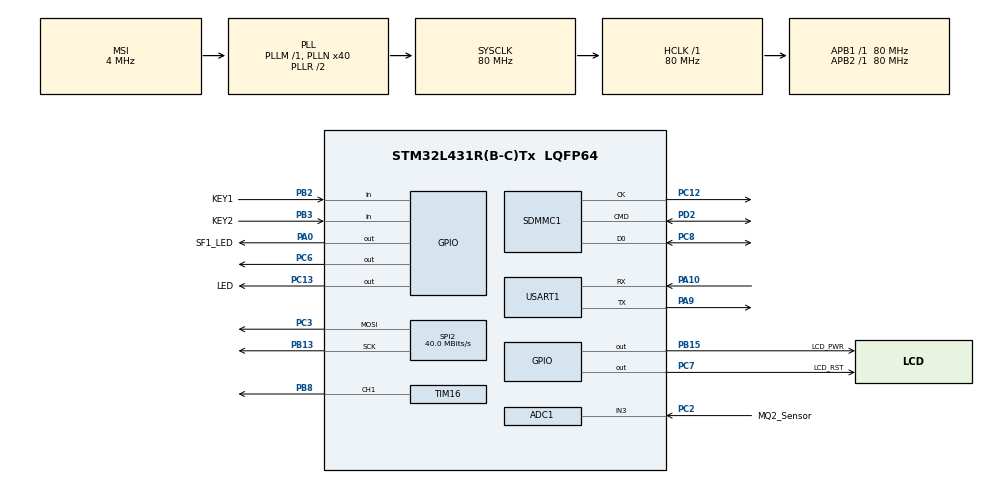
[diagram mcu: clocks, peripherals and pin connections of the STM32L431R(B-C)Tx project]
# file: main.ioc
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ADC1.Channel-0\#ChannelRegularConversion=ADC_CHANNEL_3
ADC1.NbrOfConversionFlag=1
ADC1.OffsetNumber-0\#ChannelRegularConversion=ADC_OFFSET_NONE
ADC1.Rank-0\#ChannelRegularConversion=1
ADC1.SamplingTime-0\#ChannelRegularConversion=ADC_SAMPLETIME_2CYCLES_5
ADC1.master=1
FATFS._CODE_PAGE=936
FATFS._USE_CHMOD=0
FATFS._USE_EXPAND=0
FATFS._USE_FIND=0
FATFS._USE_FORWARD=0
FATFS._USE_LABEL=0
FATFS._USE_LFN=2
Mcu.Family=STM32L4
Mcu.Name=STM32L431R(B-C)Tx
Mcu.Package=LQFP64
NVIC.PriorityGroup=NVIC_PRIORITYGROUP_4
NVIC.SDMMC1_IRQn=true\:0\:0\:false\:false\:true\:true\:true
NVIC.USART1_IRQn=true\:0\:0\:false\:false\:true\:true\:true
PA0.GPIO_Label=SF1_LED
PA0.GPIO_Speed=GPIO_SPEED_FREQ_VERY_HIGH
PA0.Signal=GPIO_Output
PA10.Mode=Asynchronous
PA10.Signal=USART1_RX
PA13\ (JTMS-SWDIO).Mode=Serial_Wire
PA13\ (JTMS-SWDIO).Signal=SYS_JTMS-SWDIO
PA14\ (JTCK-SWCLK).Mode=Serial_Wire
PA14\ (JTCK-SWCLK).Signal=SYS_JTCK-SWCLK
PA9.Mode=Asynchronous
PA9.Signal=USART1_TX
PB13.Mode=TX_Only_Simplex_Unidirect_Master
PB13.Signal=SPI2_SCK
PB15.GPIO_Label=LCD_PWR
PB15.GPIO_Speed=GPIO_SPEED_FREQ_VERY_HIGH
PB15.Signal=GPIO_Output
PB2.GPIO_Label=KEY1
PB2.GPIO_PuPd=GPIO_PULLUP
PB2.Signal=GPIO_Input
PB3\ (JTDO-TRACESWO).GPIO_Label=KEY2
PB3\ (JTDO-TRACESWO).GPIO_PuPd=GPIO_PULLUP
PB3\ (JTDO-TRACESWO).Signal=GPIO_Input
PB8.Signal=S_TIM16_CH1
PC12.Mode=SD_1_bit
PC12.Signal=SDMMC1_CK
PC13.GPIO_Label=LED
PC13.Signal=GPIO_Output
PC2.GPIO_Label=MQ2_Sensor
PC2.Signal=ADCx_IN3
PC3.Mode=TX_Only_Simplex_Unidirect_Master
PC3.Signal=SPI2_MOSI
PC6.Signal=GPIO_Output
PC7.GPIO_Label=LCD_RST
PC7.GPIO_Speed=GPIO_SPEED_FREQ_VERY_HIGH
PC7.Signal=GPIO_Output
PC8.Mode=SD_1_bit
PC8.Signal=SDMMC1_D0
PD2.Mode=SD_1_bit
PD2.Signal=SDMMC1_CMD
PH0-OSC_IN\ (PH0).Mode=HSE-External-Oscillator
PH0-OSC_IN\ (PH0).Signal=RCC_OSC_IN
PH1-OSC_OUT\ (PH1).Mode=HSE-External-Oscillator
PH1-OSC_OUT\ (PH1).Signal=RCC_OSC_OUT
ProjectManager.HeapSize=0x1000
ProjectManager.StackSize=0x1200
ProjectManager.TargetToolchain=MDK-ARM V5
RCC.ADCFreq_Value=32000000
RCC.AHBFreq_Value=80000000
RCC.APB1Freq_Value=80000000
RCC.APB1TimFreq_Value=80000000
RCC.APB2Freq_Value=80000000
RCC.APB2TimFreq_Value=80000000
RCC.CortexFreq_Value=80000000
RCC.HCLKFreq_Value=80000000
RCC.HSE_VALUE=8000000
RCC.HSI48_VALUE=48000000
RCC.HSI_VALUE=16000000
RCC.LSE_VALUE=32768
RCC.MSI_VALUE=4000000
RCC.PLLN=40
RCC.PLLSAI1N=16
RCC.SYSCLKFreq_VALUE=80000000
RCC.SYSCLKSource=RCC_SYSCLKSOURCE_PLLCLK
RCC.VCOOutputFreq_Value=160000000
SDMMC1.ClockDiv=4
SH.ADCx_IN3.0=ADC1_IN3,IN3-Single-Ended
SH.S_TIM16_CH1.0=TIM16_CH1,PWM Generation1 CH1
SPI2.CLKPhase=SPI_PHASE_2EDGE
SPI2.CLKPolarity=SPI_POLARITY_HIGH
SPI2.CalculateBaudRate=40.0 MBits/s
SPI2.DataSize=SPI_DATASIZE_8BIT
SPI2.Direction=SPI_DIRECTION_2LINES
SPI2.Mode=SPI_MODE_MASTER
SPI2.VirtualType=VM_MASTER
TIM16.Channel=TIM_CHANNEL_1
TIM16.Period=999
TIM16.Prescaler=79
TIM16.Pulse=499
USART1.VirtualMode-Asynchronous=VM_ASYNC
VP_FATFS_VS_SDIO.Mode=SDIO
VP_RTC_VS_RTC_Activate.Mode=RTC_Enabled
VP_TIM16_VS_ClockSourceINT.Mode=Enable_Timer
board=custom

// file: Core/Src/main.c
/* USER CODE BEGIN Header */
/**
  ******************************************************************************
  * @file           : main.c
  * @brief          : Main program body
  ******************************************************************************
  * @attention
  *
  * <h2><center>&copy; Copyright (c) 2020 STMicroelectronics.
  * All rights reserved.</center></h2>
  *
  * This software component is licensed by ST under BSD 3-Clause license,
  * the "License"; You may not use this file except in compliance with the
  * License. You may obtain a copy of the License at:
  *                        opensource.org/licenses/BSD-3-Clause
  *
  ******************************************************************************
  */
/* USER CODE END Header */
#include "main.h"
#include "adc.h"
#include "fatfs.h"
#include "rtc.h"
#include "sdmmc.h"
#include "spi.h"
#include "tim.h"
#include "usart.h"
#include "gpio.h"

/* USER CODE BEGIN Includes */
#include "bsp_bmp.h"
/* USER CODE END Includes */

/* USER CODE BEGIN PD */
/*默认任务*/
#define DEFULT_TASK_SIZE				256
void default_task(void *pdata);
osThreadDef(default_task, osPriorityLow, 1, DEFULT_TASK_SIZE);

/*按键处理*/
#define KEY_TASK_SIZE					2000
void StartKeyTask(void  *argument);
osThreadDef(StartKeyTask, osPriorityRealtime, 1, KEY_TASK_SIZE);

/*状态栏任务处理*/
#define STATUS_BAR_TASK_SIZE			400
void StartStatus_Bar_Task(void  *argument);
osThreadDef(StartStatus_Bar_Task, osPriorityLow, 1, STATUS_BAR_TASK_SIZE);
/* USER CODE END PD */

void SystemClock_Config(void);

/* USER CODE BEGIN 0 */
FATFS fs;													/* FatFs文件系统对象 */
FRESULT f_res;                    /* 文件操作结果 */
#define START_LOGO	"0:/UI/start_logo/start_logo.bmp"
/* USER CODE END 0 */

int main(void)
{
    /* USER CODE BEGIN 1 */
    int ret = -1 ;
    /* USER CODE END 1 */

    /* MCU Configuration--------------------------------------------------------*/

    /* Reset of all peripherals, Initializes the Flash interface and the Systick. */
    HAL_Init();

    /* Configure the system clock */
    SystemClock_Config();

    /* Initialize all configured peripherals */
    MX_GPIO_Init();
    MX_SPI2_Init();
    MX_USART1_UART_Init();
    MX_RTC_Init();
    MX_ADC1_Init();
    MX_TIM16_Init();
    MX_SDMMC1_SD_Init();
    MX_FATFS_Init();
    /* USER CODE BEGIN 2 */
    PowerOn();
    printf("小熊派气体传感器系统\n");
    LCD_Init();
    ret = Mount_SD();

    if(ret != 0)
    {
        printf("SD Card mount ERROR\r\n");
        HAL_GPIO_WritePin(LED_GPIO_Port, LED_Pin, GPIO_PIN_SET);
        return -1 ;
    }

    printf("SD卡挂载成功!\n");
    /*读取配置信息*/
    Load_Config_ini_File();
    Lcd_show_bmp(0, 0, START_LOGO);
    LCD_DisplayOn();
    HAL_Delay(1500);
    Sensor_Register(&mq2_sensor_interface);
    LCD_Clear(BLACK);
    Menu_Init();
    //关指示灯
    HAL_GPIO_WritePin(GPIOC, LED_Pin, GPIO_PIN_RESET);

    /*初始化腾讯OS tiny内核*/
    osKernelInitialize();
    /*创建并启动一个默认任务*/
    osThreadCreate(osThread(default_task), NULL);
    /*启动TencentOS tiny内核*/
    osKernelStart();
    /* USER CODE END 2 */

    /* Infinite loop */
    while (1)
    {

    }
}

void SystemClock_Config(void)
{
    RCC_OscInitTypeDef RCC_OscInitStruct = {0};
    RCC_ClkInitTypeDef RCC_ClkInitStruct = {0};
    RCC_PeriphCLKInitTypeDef PeriphClkInit = {0};

    /** Initializes the RCC Oscillators according to the specified parameters
    * in the RCC_OscInitTypeDef structure.
    */
    RCC_OscInitStruct.OscillatorType = RCC_OSCILLATORTYPE_LSI | RCC_OSCILLATORTYPE_MSI;
    RCC_OscInitStruct.LSIState = RCC_LSI_ON;
    RCC_OscInitStruct.MSIState = RCC_MSI_ON;
    RCC_OscInitStruct.MSICalibrationValue = 0;
    RCC_OscInitStruct.MSIClockRange = RCC_MSIRANGE_6;
    RCC_OscInitStruct.PLL.PLLState = RCC_PLL_ON;
    RCC_OscInitStruct.PLL.PLLSource = RCC_PLLSOURCE_MSI;
    RCC_OscInitStruct.PLL.PLLM = 1;
    RCC_OscInitStruct.PLL.PLLN = 40;
    RCC_OscInitStruct.PLL.PLLP = RCC_PLLP_DIV7;
    RCC_OscInitStruct.PLL.PLLQ = RCC_PLLQ_DIV2;
    RCC_OscInitStruct.PLL.PLLR = RCC_PLLR_DIV2;

    if (HAL_RCC_OscConfig(&RCC_OscInitStruct) != HAL_OK)
    {
        Error_Handler();
    }

    /** Initializes the CPU, AHB and APB buses clocks
    */
    RCC_ClkInitStruct.ClockType = RCC_CLOCKTYPE_HCLK | RCC_CLOCKTYPE_SYSCLK
                                  | RCC_CLOCKTYPE_PCLK1 | RCC_CLOCKTYPE_PCLK2;
    RCC_ClkInitStruct.SYSCLKSource = RCC_SYSCLKSOURCE_PLLCLK;
    RCC_ClkInitStruct.AHBCLKDivider = RCC_SYSCLK_DIV1;
    RCC_ClkInitStruct.APB1CLKDivider = RCC_HCLK_DIV1;
    RCC_ClkInitStruct.APB2CLKDivider = RCC_HCLK_DIV1;

    if (HAL_RCC_ClockConfig(&RCC_ClkInitStruct, FLASH_LATENCY_4) != HAL_OK)
    {
        Error_Handler();
    }

    PeriphClkInit.PeriphClockSelection = RCC_PERIPHCLK_RTC | RCC_PERIPHCLK_USART1
                                         | RCC_PERIPHCLK_SDMMC1 | RCC_PERIPHCLK_ADC;
    PeriphClkInit.Usart1ClockSelection = RCC_USART1CLKSOURCE_PCLK2;
    PeriphClkInit.AdcClockSelection = RCC_ADCCLKSOURCE_PLLSAI1;
    PeriphClkInit.RTCClockSelection = RCC_RTCCLKSOURCE_LSI;
    PeriphClkInit.Sdmmc1ClockSelection = RCC_SDMMC1CLKSOURCE_PLLSAI1;
    PeriphClkInit.PLLSAI1.PLLSAI1Source = RCC_PLLSOURCE_MSI;
    PeriphClkInit.PLLSAI1.PLLSAI1M = 1;
    PeriphClkInit.PLLSAI1.PLLSAI1N = 16;
    PeriphClkInit.PLLSAI1.PLLSAI1P = RCC_PLLP_DIV7;
    PeriphClkInit.PLLSAI1.PLLSAI1Q = RCC_PLLQ_DIV2;
    PeriphClkInit.PLLSAI1.PLLSAI1R = RCC_PLLR_DIV2;
    PeriphClkInit.PLLSAI1.PLLSAI1ClockOut = RCC_PLLSAI1_48M2CLK | RCC_PLLSAI1_ADC1CLK;

    if (HAL_RCCEx_PeriphCLKConfig(&PeriphClkInit) != HAL_OK)
    {
        Error_Handler();
    }

    /** Configure the main internal regulator output voltage
    */
    if (HAL_PWREx_ControlVoltageScaling(PWR_REGULATOR_VOLTAGE_SCALE1) != HAL_OK)
    {
        Error_Handler();
    }
}

/* USER CODE BEGIN 4 */
/*默认任务处理*/
void default_task(void *pdata)
{
    tos_knl_sched_lock();
    /*创建按键任务*/
    osThreadCreate(osThread(StartKeyTask), NULL);
    /*创建状态栏任务*/
    osThreadCreate(osThread(StartStatus_Bar_Task), NULL);
    tos_knl_sched_unlock();
}

/*按键任务处理*/
void StartKeyTask(void *argument)
{
    int Count_Timer = 0 ;
    __IO uint8_t KeyCode = 255;

    while(1)
    {
        /*获取键值*/
        GetKey(&KeyCode);

        if(255 != KeyCode)
        {
            Menu_Select_Item(Flow_Cursor.flow_cursor, KeyCode);
            KeyCode = 255 ;
        }

        /*如果当前在测试页面 && 开始检测标志为1，则进入传感器数据处理*/
        if(Flow_Cursor.flow_cursor == TEST_PAGE && Sensor_Flow_Cursor.Start_Detect == 1)
        {
            ++Count_Timer ;

            if(Count_Timer == 20)
            {
                Count_Timer = 0 ;
                mq2_sensor_interface.get_smoke_value(&mq2_sensor_interface);
                Sensor_Handler(Sensor_Flow_Cursor.Detect_Step, mq2_sensor_interface.Smoke_Value);
            }
        }

        tos_sleep_ms(5);
    }
}

/*状态栏任务显示处理*/
void StartStatus_Bar_Task(void *argument)
{
    while(1)
    {
        Get_Date_Time();
        sprintf(DateTime_Handler_Info.DisPlay_DateBuf, "%04d-%02d-%02d %02d:%02d:%02d", \
                DateTime_Handler_Info.year, DateTime_Handler_Info.month, DateTime_Handler_Info.day, \
                DateTime_Handler_Info.hour, DateTime_Handler_Info.minute, DateTime_Handler_Info.sec
               );
        LCD_ShowCharStr(0, 5, 240, DateTime_Handler_Info.DisPlay_DateBuf, BLACK, WHITE, 24);
        tos_sleep_ms(1000);
    }
}
/* USER CODE END 4 */

void Error_Handler(void)
{
}

/************************ (C) COPYRIGHT STMicroelectronics *****END OF FILE****/
